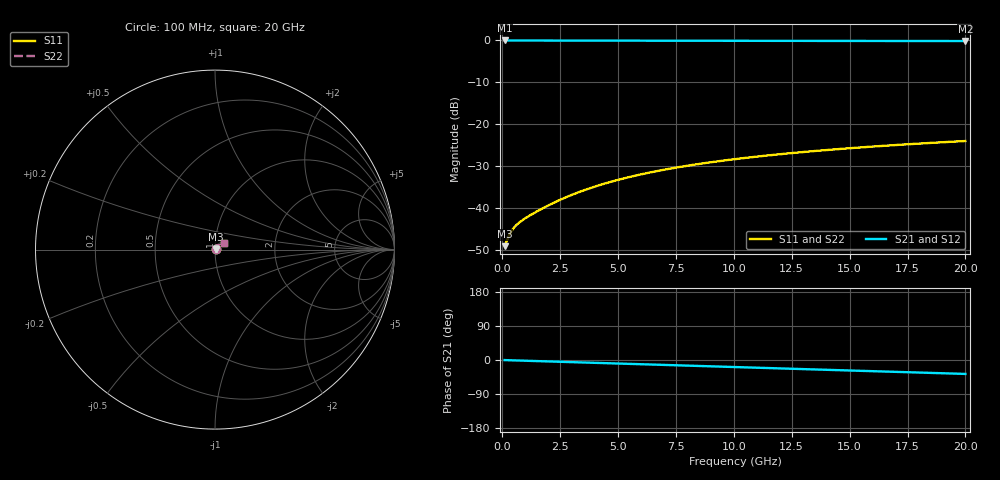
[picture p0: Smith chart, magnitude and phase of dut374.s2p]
! Touchstone file exported from HFSS 2026.1.0
!  File:  C:/ffzhzh/LocalFiles/Ansys_Project_Files/temp_train_TMRDL_374_1783004436_4048.aedt
!  Generated:  11:01:51 PM Jul  2, 2026
!  Design:  TMRDL
!  Project:  temp_train_TMRDL_374_1783004436_4048
! Variables:
!  h_bsmrdl = 2um
!  h_ox = 20um
!  h_rdl = 5um
!  h_sub = 80um
!  h_tmrdl = 3.08um
!  h_tsv = 80um
!  h_via = 3um
!  l_bsmrdl = 300um
!  l_sub = 1045.97um
!  l_tmrdl = 645.97um
!  m_sub = 200um
!  pitch = 29.73um
!  r_tsv = 6um
!  s_tmrdl = 10um
!  w_bsmrdl = 18um
!  w_sub = 500um
!  w_tmrdl = 24.45um
!  x_tsv_center1 = 658.195um
!  x_tsv_center2 = 976.195um
!  x_tsv_center3 = 1646.615um
!  x_tsv_center4 = 1964.615um
!  x_tsv_center5 = 2635.035um
!  x_tsv_center6 = 2953.035um
# GHz S MA R 50.000000
! Terminal data exported
! Port[1] = TM_RDL1_1_T1
! Port[2] = TM_RDL1_1_T2
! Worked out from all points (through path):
!   200 points, 100 MHz to 20 GHz, reference 50 ohm
!   highest |S21| = -0.03 dB at 100 MHz (marker M1); lowest = -0.2 dB at 20 GHz (marker M2)
!   group delay of S21, straight-line fit = 5.09 ps
!   lowest |S11| = -49.2 dB at 100 MHz (marker M3), VSWR 1.01, Z = 50.3 + j0.0964 ohm
!   |S11| at or under -10 dB: start of sweep to end of sweep
!   |S22| runs from -49.2 to -24.0 dB; largest |S21 - S12| = 4.3e-15
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0.1  0.003482 16.0  0.9967 -0.2  0.9967 -0.2  0.003482 16.0
! Gamma 0 0 0 0
! Port Impedance 50 0 50 0
0.3  0.00472 30.8  0.996 -0.6  0.996 -0.6  0.00472 30.8
0.4  0.005295 33.3  0.9956 -0.8  0.9956 -0.8  0.005295 33.3
0.5  0.005781 34.9  0.9953 -1.0  0.9953 -1.0  0.00578 34.9
0.6  0.006195 36.2  0.9951 -1.2  0.9951 -1.2  0.006194 36.2
0.8  0.006896 38.6  0.9947 -1.6  0.9947 -1.6  0.006895 38.7
1  0.007522 41.2  0.9945 -1.9  0.9945 -1.9  0.00752 41.2
1.3  0.008441 44.8  0.9943 -2.5  0.9943 -2.5  0.008439 44.9
1.7  0.009715 49.0  0.994 -3.2  0.994 -3.2  0.009714 49.1
2.1  0.01106 52.3  0.9938 -4.0  0.9938 -4.0  0.01106 52.3
2.8  0.01354 56.0  0.9934 -5.3  0.9934 -5.3  0.01354 56.0
3.5  0.0161 58.0  0.993 -6.6  0.993 -6.6  0.0161 58.0
4.2  0.01867 58.9  0.9925 -7.9  0.9925 -7.9  0.01867 58.9
5  0.02157 59.0  0.9919 -9.4  0.9919 -9.4  0.02157 59.1
5.9  0.02477 58.6  0.9911 -11.1  0.9911 -11.1  0.02477 58.7
6.8  0.02787 57.7  0.9903 -12.7  0.9903 -12.7  0.02786 57.8
8.3  0.03278 55.8  0.9889 -15.5  0.9889 -15.5  0.03278 55.9
10.1  0.03829 53.2  0.9874 -18.8  0.9874 -18.8  0.03829 53.3
11.7  0.04286 50.7  0.986 -21.7  0.986 -21.7  0.04286 50.8
13.4  0.04743 48.0  0.9846 -24.8  0.9846 -24.8  0.04742 48.2
16.7  0.05554 42.8  0.9823 -30.8  0.9823 -30.8  0.05553 43.0
20  0.06276 37.6  0.9802 -36.7  0.9802 -36.7  0.06276 37.8
